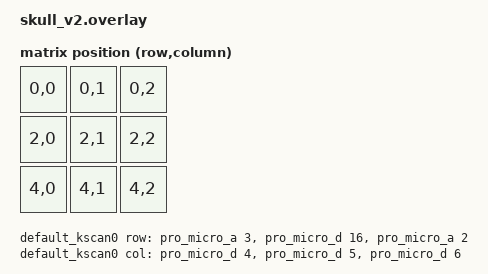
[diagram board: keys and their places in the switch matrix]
/*
 * Copyright (c) 2020 The ZMK Contributors
 *
 * SPDX-License-Identifier: MIT
 */

#include <dt-bindings/zmk/matrix_transform.h>

/ {
    chosen {
        zmk,kscan = &default_kscan0;
        zmk,matrix_transform = &default_transform;
    };

    default_transform: keymap_transform_0 {
        compatible = "zmk,matrix-transform";
        columns = <3>;
        rows = <3>;

        map = <
RC(0,0) RC(0,1) RC(0,2) 
RC(2,0) RC(2,1) RC(2,2) 
RC(4,0) RC(4,1) RC(4,2)
        >;
    };

    default_kscan0: kscan_0 {
        compatible = "zmk,kscan-gpio-matrix";
        label = "KSCAN";
        diode-direction = "col2row";

        col-gpios
            = <&pro_micro_d 4 GPIO_ACTIVE_HIGH>
            , <&pro_micro_d 5 GPIO_ACTIVE_HIGH>
            , <&pro_micro_d 6 GPIO_ACTIVE_HIGH>
            
            ;

        row-gpios
            = <&pro_micro_a 3 (GPIO_ACTIVE_HIGH | GPIO_PULL_DOWN)>
            , <&pro_micro_d 16 (GPIO_ACTIVE_HIGH | GPIO_PULL_DOWN)>
            , <&pro_micro_a 2 (GPIO_ACTIVE_HIGH | GPIO_PULL_DOWN)>
           
            ;
    };
};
